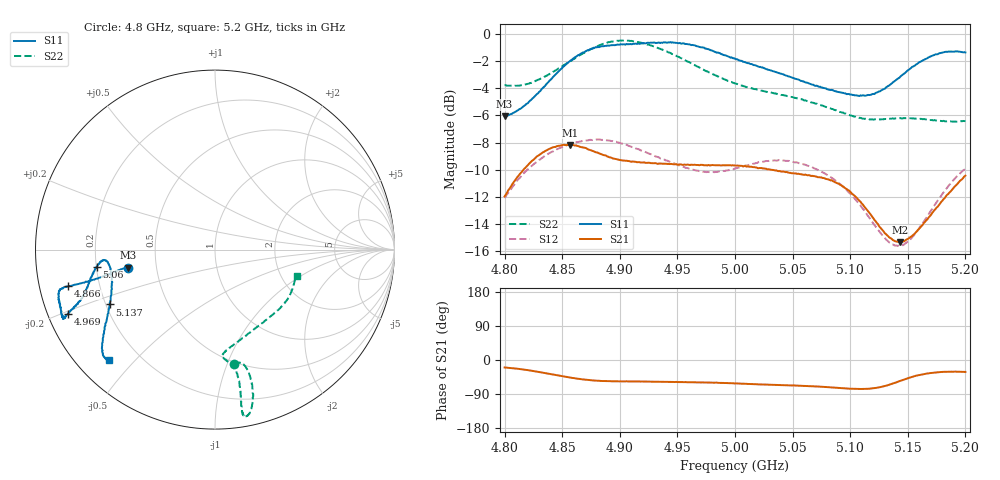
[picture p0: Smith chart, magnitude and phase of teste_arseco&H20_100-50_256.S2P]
! Network Analyzer HP8722D
! Hewlett-Packard
! Data name: Linha & Wilkinson
! Saver's name: Rodrigo Anjos
! Comments: Teste da utilização de aquisição
! continua pelo VNA HP8722D
! Time and date: 6/5/2025 14:42
!  Frequency  S11  S21  S12  S22
# HZ  S  MA R 50
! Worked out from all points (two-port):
!   401 points, 4.8 GHz to 5.2 GHz, reference 50 ohm
!   highest |S21| = -8.17 dB at 4.857 GHz (marker M1); lowest = -15.3 dB at 5.143 GHz (marker M2)
!   |S21| within 3 dB of the highest: 4.806 GHz to 5.093 GHz (286.6 MHz wide, 5.79 % of centre); 5.191596 GHz to end of sweep
!   lowest |S11| = -6.1 dB at 4.8 GHz (marker M3), VSWR 2.97, Z = 17 - j4.57 ohm
!   |S11| at or under -10 dB: nowhere
!   |S22| runs from -6.5 to -0.5 dB; largest |S21 - S12| = 0.62
!   S11 on the Smith chart (normalised r, x): 4.8 GHz: 0.34, -0.09; 4.866 GHz: 0.09, -0.12; 4.969 GHz: 0.06, -0.21; 5.06 GHz: 0.20, -0.07; 5.137 GHz: 0.21, -0.23; 5.2 GHz: 0.09, -0.42
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4.8e9  0.4966 -168.2  0.2523 -19.7  0.2487 -140.9  0.6469 -80.4
4.83e9  0.6111 -166.9  0.3579 -31.8  0.3438 -145.1  0.6796 -75.2
4.857e9  0.7961 -165.9  0.3904 -46.4  0.3926 -150.2  0.7924 -74.8
4.866e9  0.8442 -166.0  0.3833 -50.4  0.4016 -151.9  0.8377 -75.3
4.867e9  0.8491 -166.0  0.3826 -50.9  0.4029 -152.0  0.8423 -75.4
4.879e9  0.8931 -165.6  0.3667 -54.3  0.4075 -154.1  0.8927 -76.6
4.9e9  0.9127 -162.6  0.3434 -56.4  0.3966 -156.6  0.9435 -79.1
4.934e9  0.9288 -156.5  0.3333 -57.5  0.351 -155.8  0.8827 -80.5
4.969e9  0.8947 -156.4  0.3284 -59.0  0.3124 -147.3  0.7522 -79.7
5e9  0.8106 -159.0  0.328 -61.9  0.3198 -137.3  0.6566 -81.2
5.036e9  0.7223 -165.8  0.3143 -65.9  0.3414 -134.4  0.6019 -85.7
5.06e9  0.6667 -171.7  0.3026 -68.1  0.3304 -136.2  0.5688 -84.3
5.067e9  0.6498 -173.0  0.3003 -69.1  0.3235 -136.9  0.5581 -82.6
5.086e9  0.6164 -174.6  0.2858 -72.8  0.291 -138.5  0.525 -75.3
5.101e9  0.5978 -171.9  0.2602 -75.8  0.2551 -138.8  0.5 -66.5
5.116e9  0.5958 -165.6  0.2212 -75.9  0.2124 -135.6  0.486 -55.8
5.134e9  0.6458 -154.2  0.178 -65.2  0.1707 -120.7  0.4872 -43.3
5.137e9  0.6622 -152.5  0.1743 -62.2  0.1678 -116.8  0.4884 -41.6
5.143e9  0.691 -149.3  0.1713 -55.8  0.1654 -109.0  0.4894 -38.0
5.154e9  0.7565 -144.5  0.1809 -44.4  0.1789 -95.1  0.4882 -32.3
5.172e9  0.8329 -139.1  0.2212 -33.7  0.2301 -81.2  0.4805 -24.6
5.2e9  0.8539 -133.7  0.3007 -31.5  0.3193 -76.9  0.4771 -17.6
